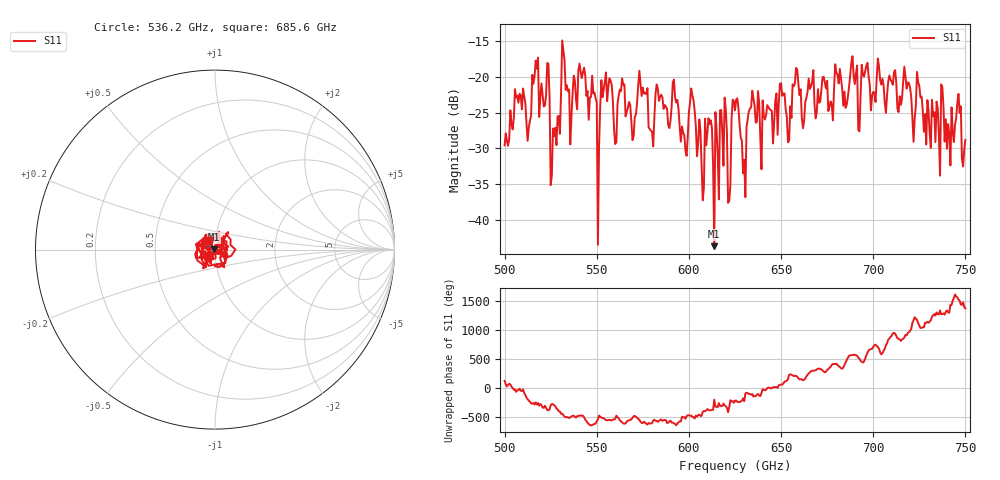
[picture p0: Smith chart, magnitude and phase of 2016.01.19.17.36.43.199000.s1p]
!Created with skrf (http://scikit-rf.org).
# GHz S RI R 50.0
!freq ReS11 ImS11
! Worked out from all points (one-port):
!   401 points, 500 GHz to 750 GHz, reference 50 ohm
!   lowest |S11| = -43.7 dB at 613.8 GHz (marker M1), VSWR 1.01, Z = 49.4 + j0.268 ohm
!   |S11| at or under -10 dB: start of sweep to end of sweep
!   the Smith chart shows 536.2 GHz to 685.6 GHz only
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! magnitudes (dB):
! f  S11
! 500 GHz  -29.6
! 506.9 GHz  -22.6
! 513.1 GHz  -27.1
! 516.9 GHz  -17.7
! 523.1 GHz  -18.1
! 526.2 GHz  -27.2
! 531.2 GHz  -14.9
! 548.8 GHz  -22.2
! 550.6 GHz  -43.5
! 553.8 GHz  -21.8
! 560 GHz  -29.4
! 562.5 GHz  -21.8
! 570 GHz  -28.3
! 573.8 GHz  -21.0
! 579.4 GHz  -27.5
! 583.1 GHz  -21.6
! 593.8 GHz  -23.2
! 613.8 GHz  -43.7
! 618.8 GHz  -32.4
! 621.9 GHz  -37.4
! 625 GHz  -24.7
! 629.4 GHz  -33.5
! 633.8 GHz  -24.3
! 656.2 GHz  -21.0
! 687.5 GHz  -19.8
! 718.8 GHz  -20.8
! 746.2 GHz  -22.4
! 750 GHz  -28.8
